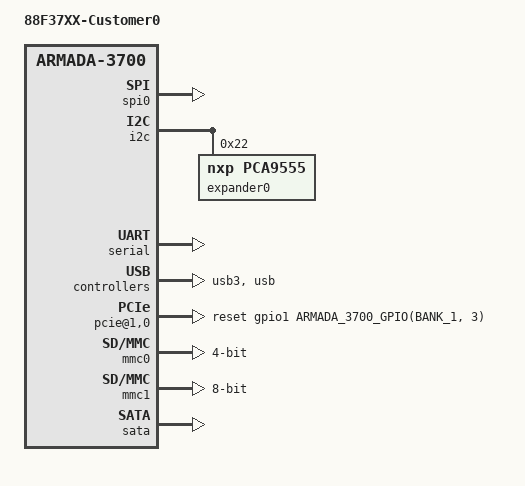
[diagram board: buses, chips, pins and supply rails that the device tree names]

/dts-v1/;
#include "armada-3700.dtsi"

/* detail board setup:
 * PHY0 (USB3/SGMII1)	:	USB3
 * PHY1 (PCIe/SGMII0)	:	PCIe (WiFi via mini_PCIe module)
 * PHY2 (SATA)		:	SATA
 * RGMII-0		:	Ethernet via PHY (1 Lane)
 * USB2 Port 0		:	USB2 as part USB3
 * USB2 Port 1		:	USB2 Host
 * eMMC*		:	eMMC NAND
 * SDIO*		:	SD card
 * BOOT device*		:	SPI Flash
*/

/ {
	model = "88F37XX-Customer0";
	compatible = "marvell,armada-3700-customer0", "marvell,armada-3700";

	soc {
		internal-regs {
			spi0: spi@10600 {
				status = "okay";
			};
			i2c: i2c@11000 {
				status = "okay";
				expander0: pca953x@22 {
					compatible = "nxp,pca9555";
					reg = <0x22>;
					status = "okay";
				};
			};
			avs@11500 {
				vdd-min = <31>;
				status = "okay";
			};
			serial: serial@12000 {
				status = "okay";
			};
			pm@14000 {
				vdd_control = "avs";
				status = "okay";
			};
			comphy {
				phy0 {
					phy-type = <PHY_TYPE_PEX0>;
					phy-speed = <PHY_SPEED_2_5G>;
				};
				phy1 {
					phy-type = <PHY_TYPE_USB3_HOST0>;
					phy-speed = <PHY_SPEED_5G>;
				};
			};
			neta0: neta@30000 {
				status = "okay";
				phy_addr = <0x0>;
				phy_mode = "rgmii";
			};
			usb3: usb3@58000 {
				gpio-vbus = <&expander0 ARMADA_3700_GPIO(PERIPHERAL_0, 1) GPIO_ACTIVE_HIGH>;
				vbus-enable-delay = <1000>;
				vbus-disable-delay = <1000>;
				status = "okay";
			};
			utmi@5d000 {
				status = "okay";
			};
			usb: usb@5e000 {
				status = "okay";
			};
			utmi@5f000 {
				status = "okay";
			};
			pcie-controller {
				pcie@1,0 {
					reset-gpio = <&gpio1 ARMADA_3700_GPIO(BANK_1, 3) GPIO_ACTIVE_HIGH>;
					status = "okay";
				};
			};
			mmc0: mmc@D0000 {
				sdio-vcc-gpio = <&gpio1 ARMADA_3700_GPIO(BANK_1, 22) GPIO_ACTIVE_HIGH>;
				bus-width = <4>;
				status = "okay";
			};
			mmc1: mmc@D8000 {
				xenon,emmc;
				bus-width = <8>;
				status = "okay";
			};
			sata: sata@e0000 {
				sata-power = <&expander0 ARMADA_3700_GPIO(PERIPHERAL_0, 2) GPIO_ACTIVE_HIGH>;
				status = "okay";
			};
			sataphy@e0000 {
				phy-invert = <PHY_POLARITY_TXD_INVERT>;
				status = "okay";
			};
		};
	};
};

&pinctl0 { /* north bridge */
		  /* 0 1 2 3 4 5 6 7 */
	pin-func = < 0 0 1 1 1 0 1 1	/* 0 - 7 */
		     1 1 1 1 1 1 1 0	/* 8 - 15 */
		     0 1 1 1 0 0 0 0	/* 16 - 23 */
		     0 0 0 0 0 0 0 0	/* 24 - 31 */
		     0 0 0 0 >;		/* 32 - 35 */

};

&pinctl1 { /* south bridge */
		  /* 0 1 2 3 4 5 6 7 */
	pin-func = < 1 1 0 1 1 0 0 0	/* 0 - 7 */
		     0 0 0 0 0 0 0 0	/* 8 - 15 */
		     0 0 0 0 1 1 1 0	/* 16 - 23 */
		     0 0 0 0 0 0 >;	/* 24 - 29 */

};
